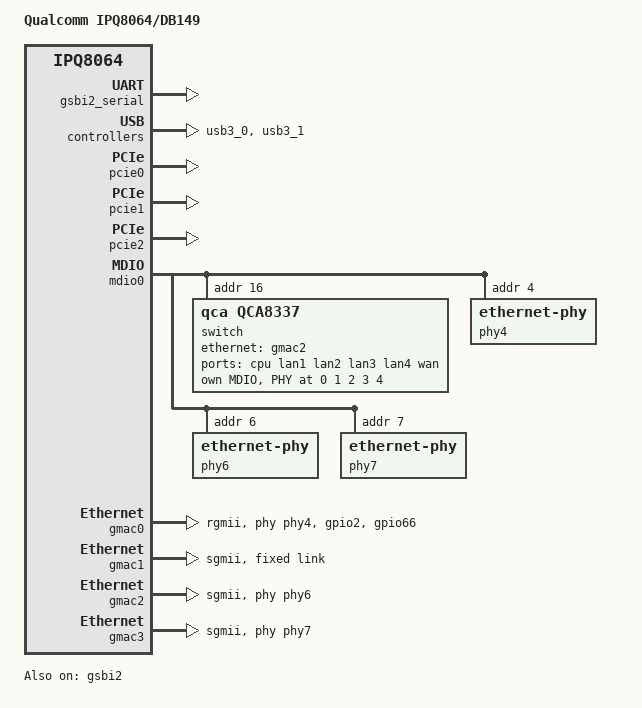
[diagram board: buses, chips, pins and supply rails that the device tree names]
#include "qcom-ipq8064-v1.0.dtsi"

#include <dt-bindings/leds/common.h>

/ {
	model = "Qualcomm IPQ8064/DB149";
	compatible = "qcom,ipq8064-db149", "qcom,ipq8064";

	aliases {
		serial0 = &gsbi2_serial;
	};

	reserved-memory {
		#address-cells = <1>;
		#size-cells = <1>;
		ranges;
		rsvd@41200000 {
			reg = <0x41200000 0x300000>;
			no-map;
		};
	};
};

&qcom_pinmux {
	rgmii0_pins: rgmii0_pins {
		mux {
			pins = "gpio2", "gpio66";
			drive-strength = <8>;
			bias-disable;
		};
	};
};

&gsbi2 {
	qcom,mode = <GSBI_PROT_I2C_UART>;
	status = "okay";

	gsbi2_serial: serial@12490000 {
		status = "okay";
	};
};

&gsbi4 {
	status = "disabled";
};

&gsbi4_serial {
	status = "disabled";
};

&flash {
	m25p,fast-read;

	partition@0 {
		label = "lowlevel_init";
		reg = <0x0 0x1b0000>;
	};

	partition@1 {
		label = "u-boot";
		reg = <0x1b0000 0x80000>;
	};

	partition@2 {
		label = "u-boot-env";
		reg = <0x230000 0x40000>;
	};

	partition@3 {
		label = "caldata";
		reg = <0x270000 0x40000>;
	};

	partition@4 {
		label = "firmware";
		reg = <0x2b0000 0x1d50000>;
	};
};

&usb3_0 {
	status = "okay";
};

&usb3_1 {
	status = "okay";
};

&pcie0 {
	status = "okay";
};

&pcie1 {
	status = "okay";
};

&pcie2 {
	status = "okay";
};

&mdio0 {
	status = "okay";

	pinctrl-0 = <&mdio0_pins>;
	pinctrl-names = "default";

	switch@10 {
		compatible = "qca,qca8337";
		#address-cells = <1>;
		#size-cells = <0>;
		reg = <0x10>;

		ports {
			#address-cells = <1>;
			#size-cells = <0>;

			port@0 {
				reg = <0>;
				label = "cpu";
				ethernet = <&gmac2>;
				phy-mode = "sgmii";

				fixed-link {
					speed = <1000>;
					full-duplex;
				};
			};

			port@1 {
				reg = <1>;
				label = "lan1";
				phy-mode = "internal";
				phy-handle = <&phy_port1>;
			};

			port@2 {
				reg = <2>;
				label = "lan2";
				phy-mode = "internal";
				phy-handle = <&phy_port2>;
			};

			port@3 {
				reg = <3>;
				label = "lan3";
				phy-mode = "internal";
				phy-handle = <&phy_port3>;
			};

			port@4 {
				reg = <4>;
				label = "lan4";
				phy-mode = "internal";
				phy-handle = <&phy_port4>;
			};

			port@5 {
				reg = <5>;
				label = "wan";
				phy-mode = "internal";
				phy-handle = <&phy_port5>;
			};

			/*
			port@6 {
					reg = <0>;
					label = "cpu";
					ethernet = <&gmac2>;
					phy-mode = "rgmii";

					fixed-link {
							speed = <1000>;
							full-duplex;
							pause;
							asym-pause;
					};
			};
			*/
		};

		mdio {
			#address-cells = <1>;
			#size-cells = <0>;

			phy_port1: phy@0 {
				reg = <0>;

				leds {
					lan1_led@0 {
						reg = <0>;
						color = <LED_COLOR_ID_GREEN>;
						function = LED_FUNCTION_LAN;
						function-enumerator = <1>;
						linux,default-trigger = "offload-phy-activity";
						linux,supported-offload-triggers = "rx-blink", "tx-blink", "ollision-blink",
										"link-10M", "link-100M", "link-1000M",
										"half-duplex", "full-duplex", "linkup-over",
										"power-on-reset", "blink-2hz", "blink-4hz",
										"blink-8hz", "blink-auto";
					};

					lan1_led@1 {
						reg = <1>;
						color = <LED_COLOR_ID_AMBER>;
						function = LED_FUNCTION_LAN;
						function-enumerator = <1>;
						linux,default-trigger = "offload-phy-activity";
						linux,supported-offload-triggers = "rx-blink", "tx-blink", "ollision-blink",
										"link-10M", "link-100M", "link-1000M",
										"half-duplex", "full-duplex", "linkup-over",
										"power-on-reset", "blink-2hz", "blink-4hz",
										"blink-8hz", "blink-auto";
					};
				};
			};

			phy_port2: phy@1 {
				reg = <1>;

				leds {
					lan2_led@0 {
						reg = <0>;
						color = <LED_COLOR_ID_GREEN>;
						function = LED_FUNCTION_LAN;
						function-enumerator = <2>;
						linux,default-trigger = "offload-phy-activity";
						linux,supported-offload-triggers = "rx-blink", "tx-blink", "ollision-blink",
										"link-10M", "link-100M", "link-1000M",
										"half-duplex", "full-duplex", "linkup-over",
										"power-on-reset", "blink-2hz", "blink-4hz",
										"blink-8hz", "blink-auto";
					};

					lan2_led@1 {
						reg = <1>;
						color = <LED_COLOR_ID_AMBER>;
						function = LED_FUNCTION_LAN;
						function-enumerator = <2>;
						linux,default-trigger = "offload-phy-activity";
						linux,supported-offload-triggers = "rx-blink", "tx-blink", "ollision-blink",
										"link-10M", "link-100M", "link-1000M",
										"half-duplex", "full-duplex", "linkup-over",
										"power-on-reset", "blink-2hz", "blink-4hz",
										"blink-8hz", "blink-auto";
					};
				};
			};

			phy_port3: phy@2 {
				reg = <2>;

				leds {
					lan3_led@0 {
						reg = <0>;
						color = <LED_COLOR_ID_GREEN>;
						function = LED_FUNCTION_LAN;
						function-enumerator = <3>;
						linux,default-trigger = "offload-phy-activity";
						linux,supported-offload-triggers = "rx-blink", "tx-blink", "ollision-blink",
										"link-10M", "link-100M", "link-1000M",
										"half-duplex", "full-duplex", "linkup-over",
										"power-on-reset", "blink-2hz", "blink-4hz",
										"blink-8hz", "blink-auto";
					};

					lan3_led@1 {
						reg = <1>;
						color = <LED_COLOR_ID_AMBER>;
						function = LED_FUNCTION_LAN;
						function-enumerator = <3>;
						linux,default-trigger = "offload-phy-activity";
						linux,supported-offload-triggers = "rx-blink", "tx-blink", "ollision-blink",
										"link-10M", "link-100M", "link-1000M",
										"half-duplex", "full-duplex", "linkup-over",
										"power-on-reset", "blink-2hz", "blink-4hz",
										"blink-8hz", "blink-auto";
					};
				};
			};

			phy_port4: phy@3 {
				reg = <3>;

				leds {
					lan4_led@0 {
						reg = <0>;
						color = <LED_COLOR_ID_GREEN>;
						function = LED_FUNCTION_LAN;
						function-enumerator = <4>;
						linux,default-trigger = "offload-phy-activity";
						linux,supported-offload-triggers = "rx-blink", "tx-blink", "ollision-blink",
										"link-10M", "link-100M", "link-1000M",
										"half-duplex", "full-duplex", "linkup-over",
										"power-on-reset", "blink-2hz", "blink-4hz",
										"blink-8hz", "blink-auto";
					};

					lan4_led@1 {
						reg = <1>;
						color = <LED_COLOR_ID_AMBER>;
						function = LED_FUNCTION_LAN;
						function-enumerator = <4>;
						linux,default-trigger = "offload-phy-activity";
						linux,supported-offload-triggers = "rx-blink", "tx-blink", "ollision-blink",
										"link-10M", "link-100M", "link-1000M",
										"half-duplex", "full-duplex", "linkup-over",
										"power-on-reset", "blink-2hz", "blink-4hz",
										"blink-8hz", "blink-auto";
					};
				};
			};

			phy_port5: phy@4 {
				reg = <4>;
			};
		};
	};

	phy4: ethernet-phy@4 {
		reg = <4>;
	};

	phy6: ethernet-phy@6 {
		reg = <6>;
	};

	phy7: ethernet-phy@7 {
		reg = <7>;
	};
};

&gmac0 {
	status = "okay";
	phy-mode = "rgmii";
	qcom,id = <0>;
	phy-handle = <&phy4>;

	pinctrl-0 = <&rgmii0_pins>;
	pinctrl-names = "default";
};

&gmac1 {
	status = "okay";
	phy-mode = "sgmii";
	qcom,id = <1>;

	fixed-link {
		speed = <1000>;
		full-duplex;
	};
};

&gmac2 {
	status = "okay";
	phy-mode = "sgmii";
	qcom,id = <2>;
	phy-handle = <&phy6>;
};

&gmac3 {
	status = "okay";
	phy-mode = "sgmii";
	qcom,id = <3>;
	phy-handle = <&phy7>;
};
